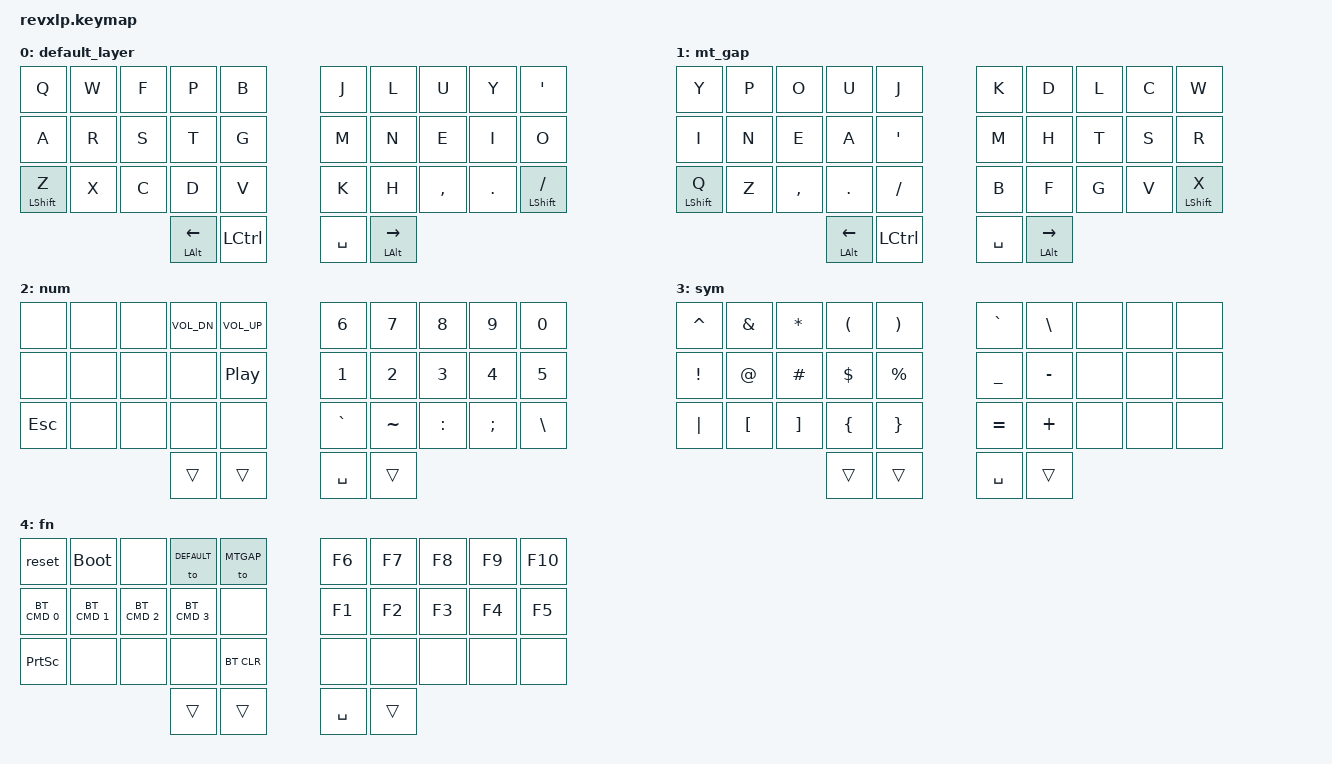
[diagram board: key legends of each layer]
/*
 * Copyright (c) 2020 The ZMK Contributors
 *
 * SPDX-License-Identifier: MIT
 */

#include <behaviors.dtsi>
#include <dt-bindings/zmk/keys.h>
#include <dt-bindings/zmk/bt.h>
#include <dt-bindings/zmk/rgb.h>

#define DEFAULT 0
#define MTGAP   1
#define NUM     2
#define SYM     3
#define FN      4

/ {
  behaviors {
    rst: boot_reset
    {
      compatible = "zmk,behavior-hold-tap";
      label = "Bootloader Tap - Reset Hold";
      #binding-cells = <2>;
      tapping_term_ms = <200>;
      flavor = "balanced";
      bindings = <&reset>, <&bootloader>;
    };

    bh: layer_taps
    {
      compatible = "zmk,behavior-hold-tap";
      label = "Layer-Tap";
      #binding-cells = <2>;
      tapping_term_ms = <200>;
      flavor = "tap-preferred";
      bindings = <&mo>, <&kp>;
    };

    aalt: arrow_alt
    {
      compatible = "zmk,behavior-hold-tap";
      label = "arrow and alt";
      #binding-cells = <2>;
      flavor = "hold-preferred";
      tapping-term-ms = <200>;
      bindings = <&kp>, <&kp>;
    };
  };
};

/ {
  combos {
    compatible = "zmk,combos";
    combo_backspce {
      timeout-ms = <50>;
      key-positions = <7 8>;
      bindings = <&kp BSPC>;
    };
    combo_tab {
      timeout-ms = <50>;
      key-positions = <11 12>;
      bindings = <&kp TAB>;
    };
    combo_del {
      timeout-ms = <50>;
      key-positions = <7 8 9>;
      bindings = <&kp DEL>;
    };
    combo_ent {
      timeout-ms = <50>;
      key-positions = <17 18>;
      bindings = <&kp RET>;
    };
    combo_num {
      timeout-ms = <100>;
      key-positions = <21 22>;
      layers = <DEFAULT MTGAP>;
      bindings = <&mo NUM>;
    };
    combo_sym {
      timeout-ms = <100>;
      key-positions = <27 28>;
      layers = <DEFAULT MTGAP>;
      bindings = <&mo SYM>;
    };
    combo_fn {
      timeout-ms = <100>;
      key-positions = <21 23>;
      layers = <DEFAULT MTGAP>;
      bindings = <&mo FN>;
    };
    combo_haneyong {
      timeout-ms = <200>;
      key-positions = <30 33>;
      bindings = <&kp LANG_HANGEUL>;
    };
    combo_super {
      timeout-ms = <250>;
      key-positions = <30 32>;
      bindings = <&kp LMETA>;
    };
  };
};

&mt {
    tapping-term-ms = <125>;
};

/ {
  keymap
  {
    compatible = "zmk,keymap";

    default_layer {
      bindings = <
    &kp Q        &kp W &kp F &kp P &kp B &kp J &kp L &kp U  &kp Y   &kp SQT
    &kp A        &kp R &kp S &kp T &kp G &kp M &kp N &kp E  &kp I   &kp O
    &mt LSHIFT Z &kp X &kp C &kp D &kp V &kp K &kp H &kp COMMA &kp DOT &mt LSHIFT FSLH
    &aalt LALT LEFT &kp LCTRL &kp SPACE &aalt LALT RIGHT
      >;
    };

    mt_gap {
      bindings = <
    &kp Y        &kp P &kp O     &kp U   &kp J    &kp K &kp D &kp L &kp C &kp W
    &kp I        &kp N &kp E     &kp A   &kp SQT  &kp M &kp H &kp T &kp S &kp R
    &mt LSHIFT Q &kp Z &kp COMMA &kp DOT &kp FSLH &kp B &kp F &kp G &kp V &mt LSHIFT X
    &aalt LALT LEFT &kp LCTRL &kp SPACE &aalt LALT RIGHT
      >;
    };

    num {
      bindings = <
    &none   &none &none &kp C_VOL_DN &kp C_VOL_UP    &kp N6 &kp N7 &kp N8 &kp N9 &kp N0
    &none   &none &none &none &kp C_PP               &kp N1 &kp N2 &kp N3 &kp N4 &kp N5
    &kp ESC &none &none &none &none                  &kp GRAVE &kp TILDE &kp COLON &kp SEMI &kp BSLH
    &trans &trans &kp SPACE &trans
      >;
    };

    sym {
      bindings = <
    &kp CARET &kp AMPS &kp STAR  &kp LPAR &kp RPAR    &kp GRAVE &kp BSLH  &none &none &none
    &kp EXCL  &kp AT   &kp POUND &kp DLLR &kp PRCNT   &kp UNDER &kp MINUS &none &none &none
    &kp PIPE  &kp LBKT &kp RBKT  &kp LBRC &kp RBRC    &kp EQUAL &kp PLUS  &none &none &none
    &trans &trans &kp SPACE &trans
      >;
    };

    fn {
      bindings = <
    &reset    &bootloader &none &to DEFAULT &to MTGAP                           &kp F6 &kp F7 &kp F8 &kp F9 &kp F10
    &bt BT_SEL_CMD 0 &bt BT_SEL_CMD 1 &bt BT_SEL_CMD 2 &bt BT_SEL_CMD 3 &none   &kp F1 &kp F2 &kp F3 &kp F4 &kp F5
    &kp PSCRN &none       &none &none &bt BT_CLR                                &none  &none  &none  &none  &none
    &trans &trans &kp SPACE &trans
      >;
    };
  };
};
